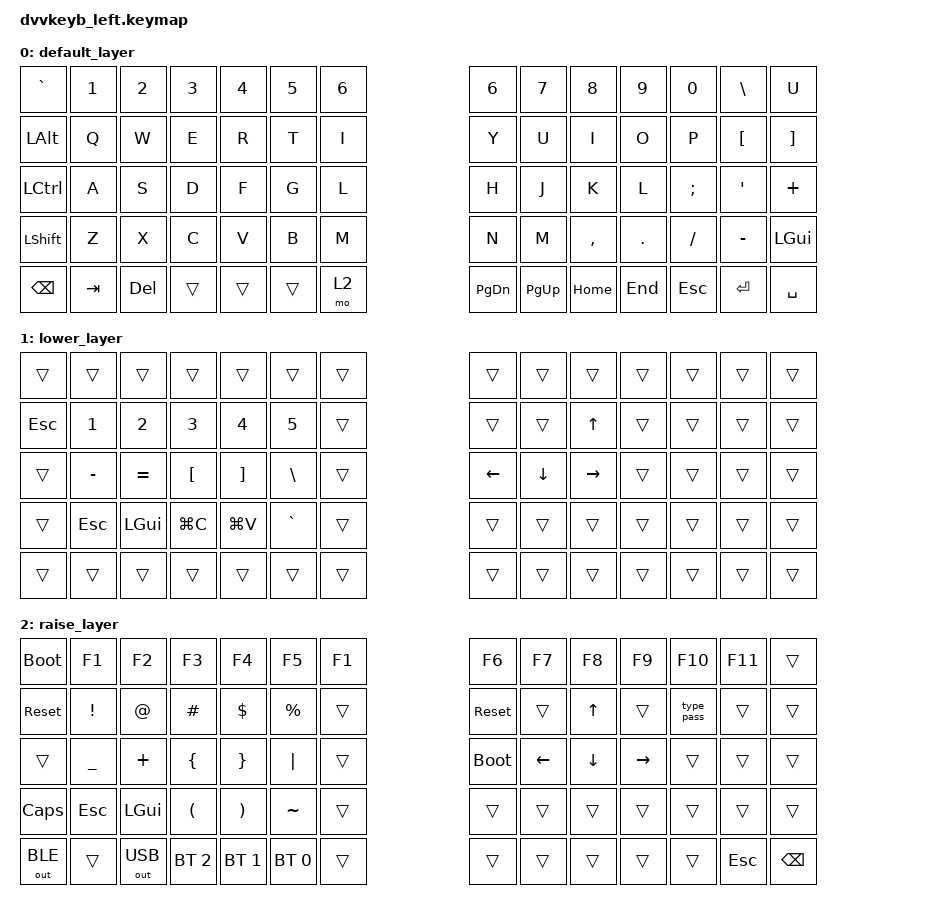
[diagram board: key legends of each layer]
/*
 * Copyright (c) 2021 The ZMK Contributors
 *
 * SPDX-License-Identifier: MIT
 */


#include <behaviors.dtsi>
#include <dt-bindings/zmk/keys.h>
#include <dt-bindings/zmk/bt.h>
#include <dt-bindings/zmk/ext_power.h>
#include <dt-bindings/zmk/outputs.h>
#include <dt-bindings/zmk/behaviors.h>

&nice_view_oled {
    label = "nice_view";
}; 

/ {
    macros {
        type_pass: type_pass {
            compatible = "zmk,behavior-macro";
            #binding-cells = <0>;
            bindings
                = <&macro_press &kp LSHFT>
                , <&macro_tap &kp P &kp N2 &kp N4 &kp N4>
                , <&macro_release &kp LSHFT>
                , <&macro_tap &kp W &kp N0 &kp R &kp D> 
                ;
        };
    };
};
/ {
    keymap {
        compatible = "zmk,keymap";
        transform = &trans_left;
        default_layer {
            /*
             * Левая половинка клавиатуры (7x4 + островок 7x1)
             * Столбцы: 0-13 (14 столбцов)
             * Ряды: 0-4 (5 рядов)
             * 
             * ┌───┬───┬───┬───┬───┬───┬───┐
             * │~  │ 1 │ 2 │ 3 │ 4 │ 5 │ 6 │  <- Ряд 0
             * ├───┼───┼───┼───┼───┼───┼───┤
             * │TAB│ Q │ W │ E │ R │ T │ I │  <- Ряд 1 (QWERTY)
             * ├───┼───┼───┼───┼───┼───┼───┤
             * │CTL│ A │ S │ D │ F │ G │ L │  <- Ряд 2 (QWERTY)
             * ├───┼───┼───┼───┼───┼───┼───┤
             * │ALT│ Z │ X │ C │ V │ B │ M │  <- Ряд 3 (QWERTY)
             * └───┴───┴───┴───┴───┴───┴───┘
             * 
             * ┌───┬───┬───┬───┬───┬───┬───┐
             * │BSP│mo2│DEL│   │   │   │SFT│  <- Ряд 4 (островок)
             * └───┴───┴───┴───┴───┴───┴───┘
             * 
             * Правая часть (столбцы 7-13):
             * ┌───┬───┬───┬───┬───┬───┬───┐
             * │ 6 │ 7 │ 8 │ 9 │ 0 │ \ │ U │
             * ├───┼───┼───┼───┼───┼───┼───┤
             * │ Y │ U │ I │ O │ P │ [ │ ] │
             * ├───┼───┼───┼───┼───┼───┼───┤
             * │ H │ J │ K │ L │ ; │ ' │ + │
             * ├───┼───┼───┼───┼───┼───┼───┤
             * │ N │ M │ , │ . │ / │ - │ESC│
             * └───┴───┴───┴───┴───┴───┴───┘
             * 
             * ┌───┬───┬───┬───┬───┬───┬───┐
             * │PGD│PGU│ESC│HOM│END│RET│SPC│  <- Островок (правая часть)
             * └───┴───┴───┴───┴───┴───┴───┘
             */
            bindings = <
                &kp GRAVE &kp N1 &kp N2 &kp N3 &kp N4 &kp N5 &kp 6          &kp N6    &kp N7    &kp N8    &kp N9    &kp N0    &kp BSLH      &kp U
                &kp LALT   &kp Q  &kp W  &kp E  &kp R  &kp T  &kp I          &kp Y     &kp U     &kp I     &kp O     &kp P     &kp LBKT      &kp RBKT
                &kp LCTRL &kp A  &kp S  &kp D  &kp F  &kp G  &kp L          &kp H     &kp J     &kp K     &kp L     &kp SEMI  &kp SQT       &kp PLUS
                &kp LSHIFT  &kp Z  &kp X  &kp C  &kp V  &kp B  &kp M          &kp N     &kp M     &kp COMMA &kp DOT   &kp FSLH  &kp MINUS     &kp LGUI
                &kp BSPC  &kp TAB &kp DEL &trans &trans &trans &mo 2     &kp PG_DN    &kp PG_UP     &kp HOME    &kp END    &kp ESC    &kp RETURN    &kp SPACE
            >; 
        };

        lower_layer {
            /*
             * ┌───┬───┬───┬───┬───┬───┬───┐
             * │   │   │   │   │   │   │   │  <- Ряд 0
             * ├───┼───┼───┼───┼───┼───┼───┤
             * │ESC│ 1 │ 2 │ 3 │ 4 │ 5 │   │  <- Ряд 1
             * ├───┼───┼───┼───┼───┼───┼───┤
             * │   │ - │ = │ [ │ ] │ \ │   │  <- Ряд 2
             * ├───┼───┼───┼───┼───┼───┼───┤
             * │   │ESC│GUI│CPY│PST│   │   │  <- Ряд 3
             * └───┴───┴───┴───┴───┴───┴───┘
             * 
             * ┌───┬───┬───┬───┬───┬───┬───┐
             * │   │   │   │   │   │   │   │  <- Островок
             * └───┴───┴───┴───┴───┴───┴───┘
             * 
             * Правая часть (столбцы 7-13):
             * ┌───┬───┬───┬───┬───┬───┬───┐
             * │   │   │   │   │   │   │   │
             * ├───┼───┼───┼───┼───┼───┼───┤
             * │   │   │UP │   │   │   │   │
             * ├───┼───┼───┼───┼───┼───┼───┤
             * │   │LFT│DWN│RGT│   │   │   │
             * ├───┼───┼───┼───┼───┼───┼───┤
             * │   │   │   │   │   │   │   │
             * └───┴───┴───┴───┴───┴───┴───┘
             * 
             * ┌───┬───┬───┬───┬───┬───┬───┐
             * │   │   │   │   │   │   │   │  <- Островок (правая часть)
             * └───┴───┴───┴───┴───┴───┴───┘
             */
            bindings = <
                &trans &trans &trans &trans &trans &trans &trans            &trans &trans &trans &trans &trans &trans &trans
                &kp ESC &kp N1 &kp N2 &kp N3 &kp N4 &kp N5 &trans           &trans &trans &kp UP &trans &trans &trans &trans
                &trans &kp MINUS &kp EQUAL &kp LBKT &kp RBKT &kp BSLH       &trans &kp LEFT &kp DOWN &kp RIGHT &trans &trans &trans &trans
                &trans &kp ESC &kp LGUI &kp LG(C) &kp LG(V) &kp GRAVE       &trans &trans &trans &trans &trans &trans &trans &trans
                &trans &trans &trans &trans &trans &trans &trans        &trans &trans &trans &trans &trans &trans &trans
            >;
        };

        raise_layer {
            /*
             * ┌───┬───┬───┬───┬───┬───┬───┐
             * │BOOT│   │   │   │   │   │   │  <- Ряд 0
             * ├───┼───┼───┼───┼───┼───┼───┤
             * │RST│ ! │ @ │ # │ $ │ % │   │  <- Ряд 1
             * ├───┼───┼───┼───┼───┼───┼───┤
             * │   │ _ │ + │ { │ } │ | │   │  <- Ряд 2
             * ├───┼───┼───┼───┼───┼───┼───┤
             * │   │ESC│GUI│ ( │ ) │ ~ │   │  <- Ряд 3
             * └───┴───┴───┴───┴───┴───┴───┘
             * 
             * ┌───┬───┬───┬───┬───┬───┬───┐
             * │BLE│   │   │BT2│BT1│BT0│USB│  <- Островок
             * └───┴───┴───┴───┴───┴───┴───┘
             * 
             * Правая часть (столбцы 7-13):
             * ┌───┬───┬───┬───┬───┬───┬───┐
             * │   │   │   │   │   │   │   │
             * ├───┼───┼───┼───┼───┼───┼───┤
             * │   │   │   │   │   │   │   │
             * ├───┼───┼───┼───┼───┼───┼───┤
             * │   │   │   │   │   │   │   │
             * ├───┼───┼───┼───┼───┼───┼───┤
             * │   │   │   │   │   │   │   │
             * └───┴───┴───┴───┴───┴───┴───┘
             * 
             * ┌───┬───┬───┬───┬───┬───┬───┐
             * │   │   │   │   │   │   │   │  <- Островок (правая часть)
             * └───┴───┴───┴───┴───┴───┴───┘
             * 
             * ОСТРОВКИ (отдельно):
             * 
             * Левая половинка (островок):
             * ┌───┬───┬───┬───┬───┬───┬───┐
             * │BSP│mo2│DEL│   │   │   │SFT│  <- Default layer
             * └───┴───┴───┴───┴───┴───┴───┘
             * 
             * ┌───┬───┬───┬───┬───┬───┬───┐
             * │   │   │   │   │   │   │   │  <- Lower layer
             * └───┴───┴───┴───┴───┴───┴───┘
             * 
             * ┌───┬───┬───┬───┬───┬───┬───┐
             * │BLE│   │   │BT2│BT1│BT0│USB│  <- Raise layer
             * └───┴───┴───┴───┴───┴───┴───┘
             * 
             * Правая половинка (островок):
             * ┌───┬───┬───┬───┬───┬───┬───┐
             * │PGD│PGU│ESC│HOM│END│RET│SPC│  <- Default layer
             * └───┴───┴───┴───┴───┴───┴───┘
             * 
             * ┌───┬───┬───┬───┬───┬───┬───┐
             * │   │   │   │   │   │   │   │  <- Lower layer
             * └───┴───┴───┴───┴───┴───┴───┘
             * 
             * ┌───┬───┬───┬───┬───┬───┬───┐
             * │   │   │   │   │   │   │   │  <- Raise layer
             * └───┴───┴───┴───┴───┴───┴───┘
             */
            bindings = <
                &bootloader &kp F1 &kp F2 &kp F3 &kp F4 &kp F5 &kp F1           &kp F6  &kp F7 &kp F8 &kp F9 &kp F10 &kp F11 &trans
                &sys_reset &kp EXCL &kp AT &kp HASH &kp DLLR &kp PRCNT &trans   &sys_reset   &trans &kp UP &trans &type_pass &trans &trans
                &trans &kp UNDER &kp PLUS &kp LBRC &kp RBRC &kp PIPE &trans     &bootloader  &kp LEFT &kp DOWN &kp RIGHT  &trans &trans &trans
                &kp CAPS &kp ESC &kp LGUI &kp LPAR &kp RPAR &kp TILDE &trans       &trans &trans &trans &trans &trans &trans &trans
                &out OUT_BLE &trans &out OUT_USB &bt BT_SEL 2 &bt BT_SEL 1 &bt BT_SEL 0   &trans &trans &trans &trans &trans &trans &kp ESC &kp BSPC
            >;
        };
    };
};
